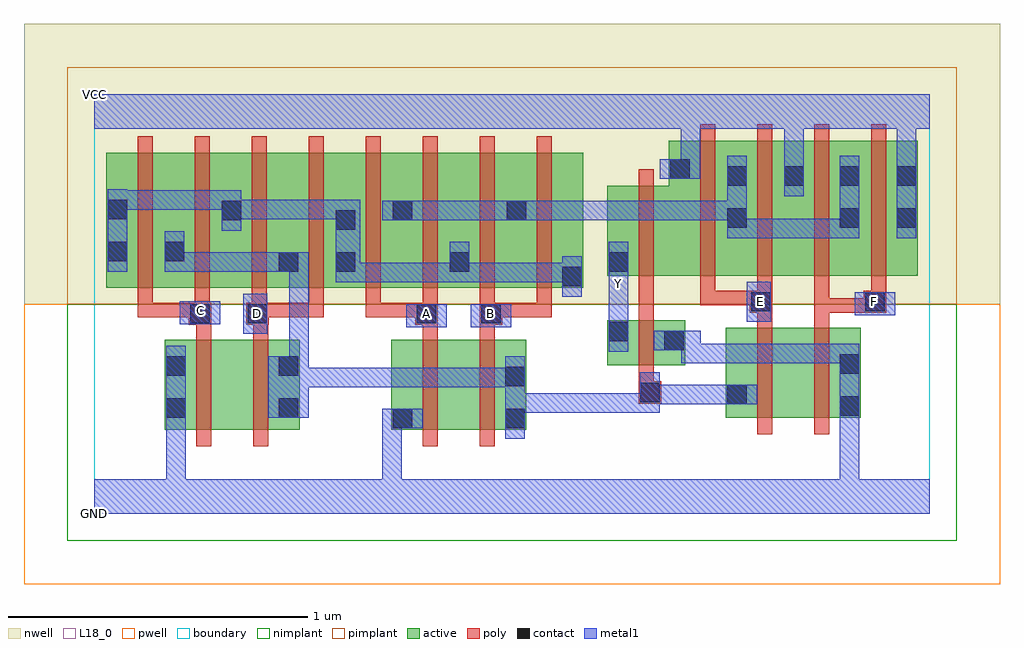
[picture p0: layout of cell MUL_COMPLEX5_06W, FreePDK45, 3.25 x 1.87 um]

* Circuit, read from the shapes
.subckt MUL_COMPLEX5_06W A B C D E F GND VCC Y
M1 n1 C GND VSUBS nfet w=0.3u l=0.05u
M2 n2 D n1 VSUBS nfet w=0.3u l=0.05u
M3 n3 A GND VSUBS nfet w=0.3u l=0.05u
M4 n2 B n3 VSUBS nfet w=0.3u l=0.05u
M5 GND n2 Y VSUBS nfet w=0.15u l=0.05u
M6 n4 E n2 VSUBS nfet w=0.3u l=0.05u
M7 GND F n4 VSUBS nfet w=0.3u l=0.05u
M8 n2 C n5 n6 pfet w=0.45u l=0.05u m=2
M9 n2 D n5 n6 pfet w=0.45u l=0.05u m=2
M10 n7 A n5 n6 pfet w=0.45u l=0.05u m=2
M11 n7 B n5 n6 pfet w=0.45u l=0.05u m=2
M12 VCC n2 Y n6 pfet w=0.3u l=0.05u
M13 n7 E VCC n6 pfet w=0.45u l=0.05u m=2
M14 n7 F VCC n6 pfet w=0.45u l=0.05u m=2
.ends

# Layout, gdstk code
import gdstk
lib = gdstk.Library(unit=1e-6, precision=1e-09)
def R(c, l, rs):  # rectangles x0, y0, x1, y1
    for r in rs: c.add(gdstk.rectangle(r[:2], r[2:], *l))
def A(c, l, x, y, w, h, nx, ny, dx, dy):  # array of equal rectangles
    R(c, l, [(x+i*dx, y+j*dy, x+i*dx+w, y+j*dy+h) for i in range(nx) for j in range(ny)])
active = (1, 0)
pwell = (2, 0)
nwell = (3, 0)
nimplant = (4, 0)
pimplant = (5, 0)
poly = (9, 0)
contact = (10, 0)
metal1 = (11, 0)
L18_0 = (18, 0)
boundary = (235, 0)

mul_complex5_06w = lib.new_cell('MUL_COMPLEX5_06W')
A(mul_complex5_06w, active, 0.04, 0.755, 0.265, 0.45, 7, 1, 0.19, 0)
R(mul_complex5_06w, active, [(0.235,0.28,0.31,0.58), (0.235,0.28,0.46,0.58), (0.46,0.28,0.685,0.58), (0.61,0.28,0.685,0.58), (0.99,0.28,1.065,0.58), (0.99,0.28,1.215,0.58), (1.215,0.28,1.44,0.58), (1.365,0.28,1.44,0.58), (2.105,0.32,2.18,0.62), (2.105,0.32,2.33,0.62), (2.33,0.32,2.555,0.62), (2.48,0.32,2.555,0.62), (1.71,0.495,1.785,0.645), (1.71,0.495,1.97,0.645), (1.895,0.495,1.97,0.645), (0.04,0.755,0.115,1.2), (0.23,0.755,0.305,1.07), (0.61,0.755,0.685,1.07), (0.8,0.755,0.875,1.2), (1.18,0.755,1.255,1.07), (1.37,0.755,1.63,1.205), (1.555,0.755,1.63,1.07), (1.71,0.795,1.99,1.095), (1.915,0.795,2.18,1.245), (2.105,0.795,2.37,1.245), (2.295,0.795,2.555,1.245), (2.48,0.795,2.745,1.245), (2.67,0.795,2.745,1.205), (1.71,0.802,1.785,1.055), (0.42,0.857,0.495,1.2), (0.99,0.857,1.065,1.2), (1.37,0.857,1.445,1.2), (2.105,0.857,2.18,1.2), (2.295,0.857,2.37,1.245), (2.48,0.857,2.555,1.2), (1.915,0.96,1.99,1.187)])
R(mul_complex5_06w, pwell, [(-0.235,-0.235,3.02,0.7)])
R(mul_complex5_06w, nwell, [(-0.235,0.7,3.02,1.635)])
R(mul_complex5_06w, nimplant, [(-0.09,-0.09,2.875,0.7)])
R(mul_complex5_06w, pimplant, [(-0.09,0.7,2.875,1.49)])
A(mul_complex5_06w, poly, 0.145, 0.655, 0.05, 0.095, 8, 1, 0.19, 0)
A(mul_complex5_06w, poly, 0.145, 0.7, 0.05, 0.56, 8, 1, 0.19, 0)
A(mul_complex5_06w, poly, 2.02, 0.74, 0.05, 0.56, 4, 1, 0.19, 0)
R(mul_complex5_06w, poly, [(0.34,0.225,0.39,0.635), (0.53,0.225,0.58,0.635), (1.095,0.225,1.145,0.635), (1.285,0.225,1.335,0.635), (2.21,0.265,2.26,0.675), (2.4,0.265,2.45,0.675), (1.815,0.367,1.89,0.442), (1.815,0.392,1.865,0.49), (1.815,0.44,1.865,0.7), (0.34,0.585,0.39,0.68), (0.53,0.585,0.58,0.68), (1.095,0.585,1.145,0.68), (1.285,0.585,1.335,0.68), (2.21,0.625,2.26,0.72), (2.4,0.625,2.45,0.72), (0.315,0.63,0.39,0.705), (0.507,0.63,0.582,0.705), (1.07,0.63,1.145,0.705), (1.285,0.63,1.36,0.705), (1.815,0.65,1.865,0.745), (0.145,0.655,0.195,0.705), (0.145,0.655,0.195,0.705), (0.145,0.655,0.195,0.705), (0.145,0.655,0.365,0.705), (0.532,0.655,0.765,0.705), (0.715,0.655,0.765,0.705), (0.715,0.655,0.765,0.705), (0.715,0.655,0.765,0.705), (0.905,0.655,0.955,0.705), (0.905,0.655,0.955,0.705), (0.905,0.655,0.955,0.705), (0.905,0.655,1.12,0.705), (1.31,0.655,1.525,0.705), (1.475,0.655,1.525,0.705), (1.475,0.655,1.525,0.705), (1.475,0.655,1.525,0.705), (2.185,0.67,2.26,0.745), (2.4,0.67,2.45,0.72), (2.4,0.67,2.615,0.72), (2.4,0.67,2.45,0.79), (2.565,0.67,2.615,0.72), (2.565,0.67,2.615,0.72), (2.565,0.67,2.64,0.745), (1.815,0.695,1.865,0.79), (1.815,0.695,1.865,0.745), (2.02,0.695,2.07,0.79), (2.02,0.695,2.07,0.745), (2.02,0.695,2.235,0.745), (2.185,0.695,2.235,0.745), (2.185,0.695,2.235,0.745), (2.21,0.695,2.26,0.79), (2.59,0.695,2.64,0.79), (1.815,0.74,1.865,1.15)])
R(mul_complex5_06w, contact, [(0.995,0.285,1.06,0.35), (1.37,0.285,1.435,0.35), (0.24,0.32,0.305,0.385), (0.615,0.32,0.68,0.385), (2.485,0.327,2.55,0.392), (2.11,0.365,2.175,0.43), (1.82,0.372,1.885,0.437), (1.37,0.425,1.435,0.49), (0.24,0.46,0.305,0.525), (0.615,0.46,0.68,0.525), (2.485,0.467,2.55,0.532), (1.9,0.545,1.965,0.61), (1.715,0.575,1.78,0.64), (0.32,0.635,0.385,0.7), (0.512,0.635,0.577,0.7), (1.075,0.635,1.14,0.7), (1.29,0.635,1.355,0.7), (2.19,0.675,2.255,0.74), (2.57,0.675,2.635,0.74), (1.56,0.76,1.625,0.825), (0.615,0.807,0.68,0.872), (0.805,0.807,0.87,0.872), (1.185,0.807,1.25,0.872), (1.715,0.807,1.78,0.872), (0.045,0.842,0.11,0.907), (0.235,0.842,0.3,0.907), (0.805,0.947,0.87,1.012), (2.11,0.955,2.175,1.02), (2.485,0.955,2.55,1.02), (2.675,0.955,2.74,1.02), (0.425,0.98,0.49,1.045), (0.995,0.98,1.06,1.045), (1.375,0.98,1.44,1.045), (0.045,0.982,0.11,1.047), (2.11,1.095,2.175,1.16), (2.3,1.095,2.365,1.16), (2.485,1.095,2.55,1.16), (2.675,1.095,2.74,1.16), (1.92,1.117,1.985,1.182)])
R(mul_complex5_06w, metal1, [(0,0,2.785,0.115), (0.24,0.05,0.305,0.115), (0.24,0.05,0.305,0.115), (0.24,0.05,0.305,0.35), (0.96,0.05,1.025,0.115), (0.96,0.05,1.025,0.115), (0.96,0.05,1.025,0.115), (0.96,0.05,1.025,0.115), (0.96,0.05,1.025,0.35), (2.485,0.05,2.55,0.115), (2.485,0.05,2.55,0.115), (2.485,0.05,2.55,0.115), (2.485,0.05,2.55,0.115), (2.485,0.05,2.55,0.357), (1.37,0.25,1.435,0.525), (0.24,0.285,0.305,0.56), (0.24,0.285,0.305,0.35), (0.24,0.285,0.305,0.35), (0.96,0.285,1.095,0.35), (2.485,0.292,2.55,0.567), (0.58,0.32,0.715,0.525), (1.37,0.337,1.435,0.402), (1.37,0.337,1.435,0.402), (1.37,0.337,1.642,0.402), (1.577,0.337,1.642,0.402), (1.577,0.337,1.642,0.402), (1.577,0.337,1.642,0.402), (1.577,0.337,1.642,0.402), (1.577,0.337,1.642,0.402), (1.577,0.337,1.642,0.402), (1.577,0.337,1.642,0.402), (1.577,0.337,1.885,0.402), (1.82,0.337,1.885,0.472), (1.82,0.365,2.002,0.43), (1.937,0.365,2.002,0.43), (1.937,0.365,2.037,0.43), (1.972,0.365,2.037,0.43), (1.972,0.365,2.14,0.43), (2.075,0.365,2.21,0.43), (0.65,0.422,0.715,0.487), (0.65,0.422,0.715,0.487), (0.65,0.422,0.887,0.487), (0.822,0.422,0.887,0.487), (0.822,0.422,0.887,0.487), (0.822,0.422,0.887,0.487), (0.822,0.422,1.112,0.487), (1.047,0.422,1.112,0.487), (1.047,0.422,1.112,0.487), (1.047,0.422,1.112,0.487), (1.047,0.422,1.267,0.487), (1.202,0.422,1.267,0.487), (1.202,0.422,1.267,0.487), (1.202,0.422,1.267,0.487), (1.202,0.422,1.435,0.487), (0.65,0.46,0.715,0.872), (1.957,0.502,2.14,0.567), (1.957,0.502,2.022,0.61), (2.075,0.502,2.14,0.567), (2.075,0.502,2.175,0.567), (2.11,0.502,2.175,0.567), (2.11,0.502,2.312,0.567), (2.247,0.502,2.55,0.567), (2.247,0.502,2.312,0.567), (2.247,0.502,2.312,0.567), (2.247,0.502,2.312,0.567), (2.485,0.502,2.55,0.567), (2.485,0.502,2.55,0.567), (2.485,0.502,2.55,0.567), (2.485,0.502,2.55,0.567), (1.715,0.54,1.78,0.675), (1.865,0.545,2,0.61), (1.935,0.545,2.022,0.61), (0.497,0.6,0.577,0.735), (1.715,0.61,1.78,0.767), (1.04,0.622,1.175,0.7), (1.255,0.622,1.39,0.7), (0.285,0.632,0.42,0.71), (2.175,0.64,2.255,0.775), (2.535,0.662,2.67,0.74), (1.715,0.702,1.78,0.837), (1.56,0.725,1.625,0.86), (0.805,0.772,0.887,1.047), (0.822,0.772,0.887,0.837), (0.822,0.772,0.887,0.837), (0.822,0.772,0.887,0.837), (0.822,0.772,0.887,0.837), (0.822,0.772,1.112,0.837), (1.047,0.772,1.112,0.837), (1.047,0.772,1.112,0.837), (1.047,0.772,1.112,0.837), (1.047,0.772,1.25,0.837), (1.185,0.772,1.25,0.837), (1.185,0.772,1.25,0.837), (1.185,0.772,1.25,0.907), (1.185,0.772,1.487,0.837), (1.422,0.772,1.487,0.837), (1.422,0.772,1.487,0.837), (1.422,0.772,1.487,0.837), (1.422,0.772,1.625,0.837), (1.715,0.772,1.78,0.837), (1.715,0.772,1.78,0.907), (0.045,0.807,0.11,1.082), (0.235,0.807,0.3,0.872), (0.235,0.807,0.3,0.872), (0.235,0.807,0.3,0.942), (0.235,0.807,0.507,0.872), (0.442,0.807,0.507,0.872), (0.442,0.807,0.507,0.872), (0.442,0.807,0.507,0.872), (0.442,0.807,0.645,0.872), (0.58,0.807,0.715,0.872), (0.65,0.807,0.715,0.872), (0.65,0.807,0.715,0.872), (2.11,0.92,2.175,1.195), (2.11,0.92,2.175,0.985), (2.11,0.92,2.175,0.985), (2.11,0.92,2.312,0.985), (2.247,0.92,2.55,0.985), (2.247,0.92,2.312,0.985), (2.247,0.92,2.312,0.985), (2.247,0.92,2.312,0.985), (2.485,0.92,2.55,1.195), (2.675,0.92,2.74,1.195), (0.425,0.945,0.49,1.08), (0.96,0.98,1.095,1.045), (1.03,0.98,1.095,1.045), (1.03,0.98,1.095,1.045), (1.03,0.98,1.267,1.045), (1.202,0.98,1.267,1.045), (1.202,0.98,1.267,1.045), (1.202,0.98,1.267,1.045), (1.202,0.98,1.405,1.045), (1.34,0.98,1.475,1.045), (1.41,0.98,1.475,1.045), (1.41,0.98,1.475,1.045), (1.41,0.98,1.747,1.045), (1.682,0.98,1.747,1.045), (1.682,0.98,1.792,1.045), (1.727,0.98,1.792,1.045), (1.727,0.98,1.885,1.045), (1.82,0.98,1.885,1.045), (1.82,0.98,2.002,1.045), (1.937,0.98,2.002,1.045), (1.937,0.98,2.002,1.045), (1.937,0.98,2.002,1.045), (1.937,0.98,2.022,1.045), (1.957,0.98,2.022,1.045), (1.957,0.98,2.175,1.045), (0.425,0.982,0.49,1.047), (0.425,0.982,0.49,1.047), (0.425,0.982,0.715,1.047), (0.65,0.982,0.715,1.047), (0.65,0.982,0.715,1.047), (0.65,0.982,0.715,1.047), (0.65,0.982,0.87,1.047), (0.045,1.015,0.11,1.08), (0.045,1.015,0.11,1.08), (0.045,1.015,0.247,1.08), (0.182,1.015,0.247,1.08), (0.182,1.015,0.247,1.08), (0.182,1.015,0.247,1.08), (0.182,1.015,0.49,1.08), (2.3,1.06,2.365,1.195), (1.885,1.117,2.02,1.182), (1.955,1.117,2.02,1.35), (2.3,1.13,2.365,1.35), (2.675,1.13,2.74,1.35), (0,1.285,2.785,1.4)])
R(mul_complex5_06w, L18_0, [(0,0,2.785,0.115), (0.24,0.05,0.305,0.115), (0.24,0.05,0.305,0.115), (0.24,0.05,0.305,0.35), (0.96,0.05,1.025,0.115), (0.96,0.05,1.025,0.115), (0.96,0.05,1.025,0.115), (0.96,0.05,1.025,0.115), (0.96,0.05,1.025,0.35), (2.485,0.05,2.55,0.115), (2.485,0.05,2.55,0.115), (2.485,0.05,2.55,0.115), (2.485,0.05,2.55,0.115), (2.485,0.05,2.55,0.357), (0.24,0.285,0.305,0.35), (0.24,0.285,0.305,0.35), (0.24,0.285,0.305,0.56), (0.96,0.285,1.095,0.35), (2.485,0.292,2.55,0.567), (1.957,0.502,2.022,0.61), (1.957,0.502,2.14,0.567), (2.075,0.502,2.14,0.567), (2.075,0.502,2.175,0.567), (2.11,0.502,2.175,0.567), (2.11,0.502,2.312,0.567), (2.247,0.502,2.312,0.567), (2.247,0.502,2.312,0.567), (2.247,0.502,2.312,0.567), (2.247,0.502,2.55,0.567), (2.485,0.502,2.55,0.567), (2.485,0.502,2.55,0.567), (2.485,0.502,2.55,0.567), (2.485,0.502,2.55,0.567), (1.715,0.54,1.78,0.675), (1.865,0.545,2,0.61), (1.935,0.545,2.022,0.61), (0.497,0.6,0.577,0.735), (1.715,0.61,1.78,0.767), (1.04,0.622,1.175,0.7), (1.255,0.622,1.39,0.7), (0.285,0.632,0.42,0.71), (0.512,0.635,0.577,0.7), (1.075,0.635,1.14,0.7), (1.29,0.635,1.355,0.7), (2.175,0.64,2.255,0.775), (0.32,0.645,0.385,0.71), (2.535,0.662,2.67,0.74), (2.19,0.675,2.255,0.74), (2.57,0.675,2.635,0.74), (1.715,0.702,1.78,0.837), (1.715,0.737,1.78,0.802), (1.715,0.772,1.78,0.837), (1.715,0.772,1.78,0.907), (2.675,0.92,2.74,1.195), (2.3,1.06,2.365,1.195), (1.885,1.117,2.02,1.182), (1.955,1.117,2.02,1.35), (2.3,1.13,2.365,1.35), (2.675,1.13,2.74,1.35), (0,1.285,2.785,1.4)])
R(mul_complex5_06w, boundary, [(0,0,2.785,1.4)])
mul_complex5_06w.add(gdstk.Label('A', (1.107,0.667), layer=11, texttype=0))
mul_complex5_06w.add(gdstk.Label('B', (1.322,0.667), layer=11, texttype=0))
mul_complex5_06w.add(gdstk.Label('C', (0.352,0.677), layer=11, texttype=0))
mul_complex5_06w.add(gdstk.Label('D', (0.545,0.667), layer=11, texttype=0))
mul_complex5_06w.add(gdstk.Label('E', (2.222,0.707), layer=11, texttype=0))
mul_complex5_06w.add(gdstk.Label('F', (2.602,0.707), layer=11, texttype=0))
mul_complex5_06w.add(gdstk.Label('Y', (1.747,0.77), layer=11, texttype=0))
mul_complex5_06w.add(gdstk.Label('VCC', (0,1.4), layer=11, texttype=0))
mul_complex5_06w.add(gdstk.Label('GND', (0,0), layer=11, texttype=0))

lib.write_gds('MUL_COMPLEX5_06W.gds')
